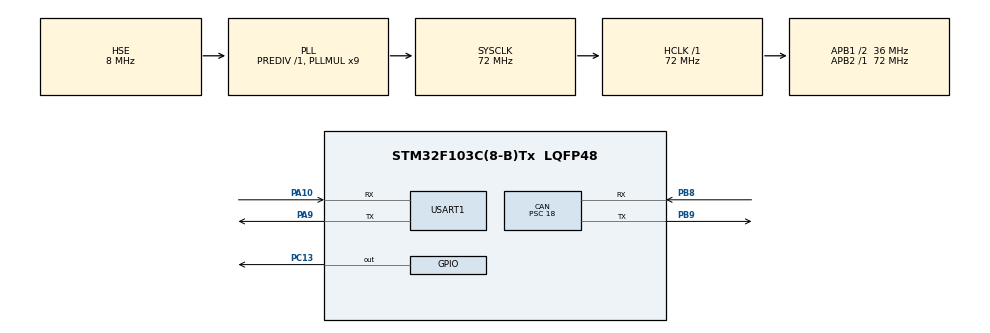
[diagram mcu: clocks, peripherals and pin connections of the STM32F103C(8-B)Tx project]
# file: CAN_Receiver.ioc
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CAN.ABOM=ENABLE
CAN.BS1=CAN_BS1_13TQ
CAN.BS2=CAN_BS2_2TQ
CAN.CalculateBaudRate=125000
CAN.CalculateTimeBit=8000
CAN.CalculateTimeQuantum=500.0
CAN.Prescaler=18
Mcu.Family=STM32F1
Mcu.Name=STM32F103C(8-B)Tx
Mcu.Package=LQFP48
NVIC.CAN1_RX1_IRQn=true\:0\:0\:false\:false\:true\:true\:true\:true
NVIC.PriorityGroup=NVIC_PRIORITYGROUP_4
PA10.Mode=Asynchronous
PA10.Signal=USART1_RX
PA13.Mode=Serial_Wire
PA13.Signal=SYS_JTMS-SWDIO
PA14.Mode=Serial_Wire
PA14.Signal=SYS_JTCK-SWCLK
PA9.Mode=Asynchronous
PA9.Signal=USART1_TX
PB8.Mode=CAN_Activate
PB8.Signal=CAN_RX
PB9.Mode=CAN_Activate
PB9.Signal=CAN_TX
PC13-TAMPER-RTC.Signal=GPIO_Output
PD0-OSC_IN.Mode=HSE-External-Oscillator
PD0-OSC_IN.Signal=RCC_OSC_IN
PD1-OSC_OUT.Mode=HSE-External-Oscillator
PD1-OSC_OUT.Signal=RCC_OSC_OUT
ProjectManager.HeapSize=0x200
ProjectManager.StackSize=0x400
ProjectManager.TargetToolchain=STM32CubeIDE
RCC.AHBFreq_Value=72000000
RCC.APB1CLKDivider=RCC_HCLK_DIV2
RCC.APB1Freq_Value=36000000
RCC.APB1TimFreq_Value=72000000
RCC.APB2Freq_Value=72000000
RCC.APB2TimFreq_Value=72000000
RCC.HCLKFreq_Value=72000000
RCC.PLLMUL=RCC_PLL_MUL9
RCC.PLLSourceVirtual=RCC_PLLSOURCE_HSE
RCC.SYSCLKFreq_VALUE=72000000
RCC.SYSCLKSource=RCC_SYSCLKSOURCE_PLLCLK
RCC.USBFreq_Value=72000000
USART1.VirtualMode=VM_ASYNC
board=custom

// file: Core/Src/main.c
/* USER CODE BEGIN Header */
/**
  ******************************************************************************
  * @file           : main.c
  * @brief          : Main program body
  ******************************************************************************
  * @attention
  *
  * Copyright (c) 2026 STMicroelectronics.
  * All rights reserved.
  *
  * This software is licensed under terms that can be found in the LICENSE file
  * in the root directory of this software component.
  * If no LICENSE file comes with this software, it is provided AS-IS.
  *
  ******************************************************************************
  */
/* USER CODE END Header */
#include "main.h"

/* USER CODE BEGIN Includes */
#include <stdio.h>
#include <string.h>
/* USER CODE END Includes */

CAN_HandleTypeDef hcan;

UART_HandleTypeDef huart1;

/* USER CODE BEGIN PV */

// Redirect printf() output to USART1
int _write(int file, char *ptr, int len) {
    HAL_UART_Transmit(&huart1, (uint8_t*)ptr, len, HAL_MAX_DELAY);
    return len;
}

/* USER CODE END PV */

void SystemClock_Config(void);
static void MX_GPIO_Init(void);
static void MX_CAN_Init(void);
static void MX_USART1_UART_Init(void);

/* USER CODE BEGIN 0 */
CAN_FilterTypeDef sFilterConfig;
CAN_RxHeaderTypeDef RxHeader;
uint8_t RxData[8];
volatile uint8_t msgReceived = 0;

void HAL_CAN_RxFifo1MsgPendingCallback(CAN_HandleTypeDef *hcan)
{
  if (HAL_CAN_GetRxMessage(hcan, CAN_RX_FIFO1, &RxHeader, RxData) == HAL_OK)
    msgReceived = 1;
}
/* USER CODE END 0 */

int main(void)
{

  /* MCU Configuration--------------------------------------------------------*/

  /* Reset of all peripherals, Initializes the Flash interface and the Systick. */
  HAL_Init();

  /* Configure the system clock */
  SystemClock_Config();

  /* Initialize all configured peripherals */
  MX_GPIO_Init();
  MX_CAN_Init();
  MX_USART1_UART_Init();
  /* USER CODE BEGIN 2 */

  sFilterConfig.FilterActivation = CAN_FILTER_ENABLE;
  sFilterConfig.FilterFIFOAssignment = CAN_FILTER_FIFO1;
  sFilterConfig.FilterMode = CAN_FILTERMODE_IDMASK;
  sFilterConfig.FilterIdHigh = 0x6A5<<5;
  sFilterConfig.FilterIdLow = 0;
  sFilterConfig.FilterMaskIdHigh = 0x7FF<<5; // SET 0 to unfilter
  sFilterConfig.FilterMaskIdLow = 0;
  sFilterConfig.FilterScale = CAN_FILTERSCALE_32BIT;
  HAL_CAN_ConfigFilter(&hcan, &sFilterConfig);
  HAL_CAN_Start(&hcan);                                   // was missing
  HAL_CAN_ActivateNotification(&hcan, CAN_IT_RX_FIFO1_MSG_PENDING);

  /* USER CODE END 2 */

  /* Infinite loop */
  while (1)
  {
	  if (msgReceived)
	    {
	      msgReceived = 0;
	      if (memcmp(RxData, "Pressed_", 8) == 0)
	        HAL_GPIO_TogglePin(GPIOC, GPIO_PIN_13);
	    }
  }
}

void SystemClock_Config(void)
{
  RCC_OscInitTypeDef RCC_OscInitStruct = {0};
  RCC_ClkInitTypeDef RCC_ClkInitStruct = {0};

  /** Initializes the RCC Oscillators according to the specified parameters
  * in the RCC_OscInitTypeDef structure.
  */
  RCC_OscInitStruct.OscillatorType = RCC_OSCILLATORTYPE_HSE;
  RCC_OscInitStruct.HSEState = RCC_HSE_ON;
  RCC_OscInitStruct.HSEPredivValue = RCC_HSE_PREDIV_DIV1;
  RCC_OscInitStruct.HSIState = RCC_HSI_ON;
  RCC_OscInitStruct.PLL.PLLState = RCC_PLL_ON;
  RCC_OscInitStruct.PLL.PLLSource = RCC_PLLSOURCE_HSE;
  RCC_OscInitStruct.PLL.PLLMUL = RCC_PLL_MUL9;
  if (HAL_RCC_OscConfig(&RCC_OscInitStruct) != HAL_OK)
  {
    Error_Handler();
  }

  /** Initializes the CPU, AHB and APB buses clocks
  */
  RCC_ClkInitStruct.ClockType = RCC_CLOCKTYPE_HCLK|RCC_CLOCKTYPE_SYSCLK
                              |RCC_CLOCKTYPE_PCLK1|RCC_CLOCKTYPE_PCLK2;
  RCC_ClkInitStruct.SYSCLKSource = RCC_SYSCLKSOURCE_PLLCLK;
  RCC_ClkInitStruct.AHBCLKDivider = RCC_SYSCLK_DIV1;
  RCC_ClkInitStruct.APB1CLKDivider = RCC_HCLK_DIV2;
  RCC_ClkInitStruct.APB2CLKDivider = RCC_HCLK_DIV1;

  if (HAL_RCC_ClockConfig(&RCC_ClkInitStruct, FLASH_LATENCY_2) != HAL_OK)
  {
    Error_Handler();
  }
}

static void MX_CAN_Init(void)
{

  hcan.Instance = CAN1;
  hcan.Init.Prescaler = 72;
  hcan.Init.Mode = CAN_MODE_NORMAL;
  hcan.Init.SyncJumpWidth = CAN_SJW_1TQ;
  hcan.Init.TimeSeg1 = CAN_BS1_2TQ;
  hcan.Init.TimeSeg2 = CAN_BS2_1TQ;
  hcan.Init.TimeTriggeredMode = DISABLE;
  hcan.Init.AutoBusOff = DISABLE;
  hcan.Init.AutoWakeUp = DISABLE;
  hcan.Init.AutoRetransmission = DISABLE;
  hcan.Init.ReceiveFifoLocked = DISABLE;
  hcan.Init.TransmitFifoPriority = DISABLE;
  if (HAL_CAN_Init(&hcan) != HAL_OK)
  {
    Error_Handler();
  }

}

static void MX_USART1_UART_Init(void)
{

  huart1.Instance = USART1;
  huart1.Init.BaudRate = 115200;
  huart1.Init.WordLength = UART_WORDLENGTH_8B;
  huart1.Init.StopBits = UART_STOPBITS_1;
  huart1.Init.Parity = UART_PARITY_NONE;
  huart1.Init.Mode = UART_MODE_TX_RX;
  huart1.Init.HwFlowCtl = UART_HWCONTROL_NONE;
  huart1.Init.OverSampling = UART_OVERSAMPLING_16;
  if (HAL_UART_Init(&huart1) != HAL_OK)
  {
    Error_Handler();
  }

}

static void MX_GPIO_Init(void)
{
  GPIO_InitTypeDef GPIO_InitStruct = {0};

  /* GPIO Ports Clock Enable */
  __HAL_RCC_GPIOC_CLK_ENABLE();
  __HAL_RCC_GPIOD_CLK_ENABLE();
  __HAL_RCC_GPIOA_CLK_ENABLE();
  __HAL_RCC_GPIOB_CLK_ENABLE();

  /*Configure GPIO pin Output Level */
  HAL_GPIO_WritePin(GPIOC, GPIO_PIN_13, GPIO_PIN_RESET);

  /*Configure GPIO pin : PC13 */
  GPIO_InitStruct.Pin = GPIO_PIN_13;
  GPIO_InitStruct.Mode = GPIO_MODE_OUTPUT_PP;
  GPIO_InitStruct.Pull = GPIO_NOPULL;
  GPIO_InitStruct.Speed = GPIO_SPEED_FREQ_LOW;
  HAL_GPIO_Init(GPIOC, &GPIO_InitStruct);

}

void Error_Handler(void)
{
  __disable_irq();
  while (1)
  {
  }
}
